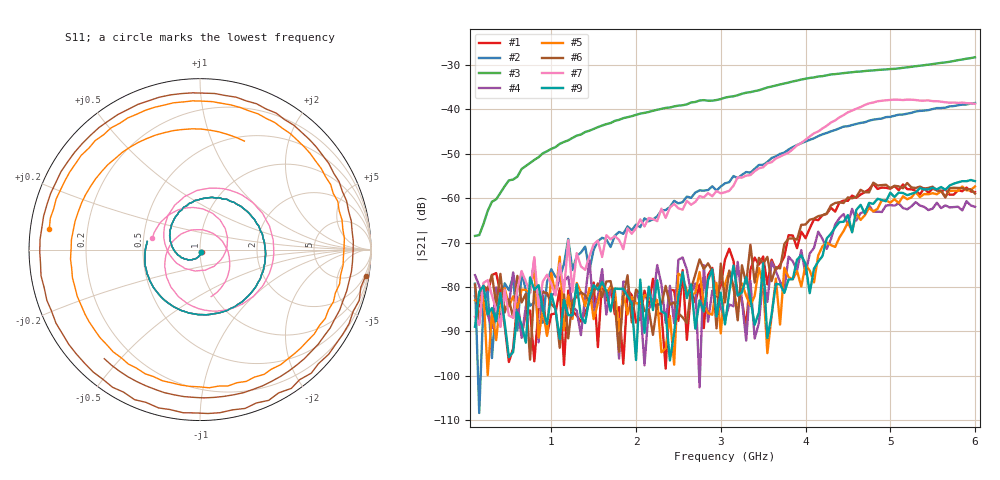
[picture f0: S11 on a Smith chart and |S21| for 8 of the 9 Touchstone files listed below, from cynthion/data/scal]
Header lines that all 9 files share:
! Created with skrf 2.0.0 (http://scikit-rf.org).
# Hz S RI R 50.0
!freq ReS11 ImS11 ReS21 ImS21 ReS12 ImS12 ReS22 ImS22
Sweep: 100 MHz to 6 GHz
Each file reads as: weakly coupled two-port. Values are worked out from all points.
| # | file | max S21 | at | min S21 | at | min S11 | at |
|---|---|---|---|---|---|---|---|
| 1 | eeprom-0.s2p | -56.79 dB | 4.8 GHz | -98.4 dB | 2.35 GHz | -34.6 dB | 100 MHz |
| 2 | eeprom-16.s2p | -38.61 dB | 6 GHz | -108.3 dB | 150 MHz | -34.8 dB | 100 MHz |
| 3 | eeprom-24.s2p | -28.31 dB | 6 GHz | -68.5 dB | 100 MHz | -34.7 dB | 100 MHz |
| 4 | eeprom-32.s2p | -60.70 dB | 5.9 GHz | -102.6 dB | 2.75 GHz | -34.7 dB | 100 MHz |
| 5 | eeprom-33.s2p | -57.38 dB | 5.85 GHz | -99.8 dB | 250 MHz | -3.3 dB | 6 GHz |
| 6 | eeprom-34.s2p | -56.51 dB | 4.8 GHz | -96.3 dB | 750 MHz | -1.4 dB | 6 GHz |
| 7 | eeprom-35.s2p | -37.83 dB | 5.2 GHz | -89.0 dB | 400 MHz | -18.7 dB | 5.35 GHz |
| 8 | eeprom-39.s2p | -25.16 dB | 5.95 GHz | -68.3 dB | 100 MHz | -15.3 dB | 4.5 GHz |
| 9 | eeprom-48.s2p | -55.92 dB | 5.95 GHz | -96.5 dB | 2.4 GHz | -34.7 dB | 100 MHz |
